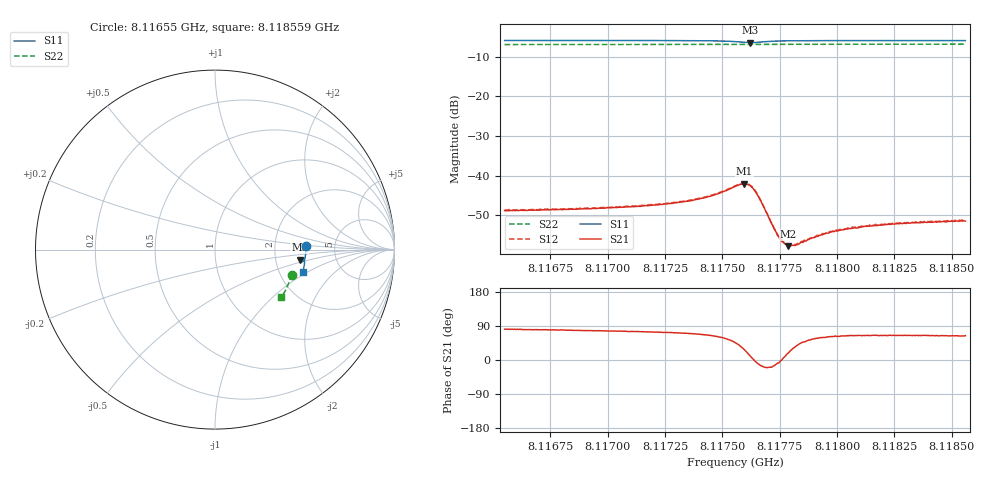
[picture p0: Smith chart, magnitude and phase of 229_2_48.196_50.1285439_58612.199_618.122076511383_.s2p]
#  HZ  S  RI  R  50.00
! Rohde & Schwarz Vector Network Analyzer
! Rohde-Schwarz,ZNB20-2Port,1311601062101988,3.16
! Created: UTC 3/20/2024, 11:46:16 AM
! freq[Hz]  re:S11  im:S11  re:S21  im:S21  re:S12  im:S12  re:S22  im:S22
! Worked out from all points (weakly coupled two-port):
!   401 points, 8.11655 GHz to 8.118559 GHz, reference 50 ohm
!   highest |S21| = -42.02 dB at 8.117595 GHz (marker M1); lowest = -57.8 dB at 8.117786 GHz (marker M2)
!   lowest |S11| = -6.5 dB at 8.11762 GHz (marker M3), VSWR 2.81, Z = 137 - j20.2 ohm
!   |S11| at or under -10 dB: nowhere
!   |S22| runs from -6.9 to -6.8 dB; largest |S21 - S12| = 0.00021
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8.1165505e9  0.5065 0.0174  0.000549 0.00359  0.000628 0.00364  0.4277 -0.1392
8.1168869e9  0.5062 -0.00861  0.000792 0.00372  0.000846 0.00382  0.4208 -0.1616
8.1172233e9  0.5039 -0.0356  0.00122 0.00412  0.00131 0.00421  0.4126 -0.1836
8.1173589e9  0.5017 -0.0477  0.00168 0.00452  0.00176 0.00458  0.409 -0.1926
8.1174242e9  0.4995 -0.0543  0.00212 0.00483  0.0022 0.00495  0.4071 -0.1967
8.1174844e9  0.4959 -0.061  0.00292 0.0052  0.00298 0.00533  0.4051 -0.2006
8.1175547e9  0.4855 -0.0679  0.00505 0.00526  0.00524 0.00528  0.4028 -0.2051
8.1175949e9  0.4752 -0.0648  0.00703 0.00367  0.00717 0.00361  0.4011 -0.2071
8.11762e9  0.472 -0.0569  0.00735 0.00144  0.00747 0.00141  0.4005 -0.2082
8.1176401e9  0.4745 -0.05  0.00652 -0.000224  0.00665 -0.000291  0.4002 -0.2092
8.1176602e9  0.4801 -0.0466  0.00513 -0.00108  0.0052 -0.00116  0.3999 -0.2103
8.1177205e9  0.4934 -0.0509  0.0022 -0.000645  0.00225 -0.000667  0.3987 -0.2144
8.1177456e9  0.4958 -0.0545  0.00169 -0.000235  0.0017 -0.000195  0.3979 -0.2159
8.1177656e9  0.4969 -0.0572  0.00145 0.000141  0.00147 8.63e-05  0.3974 -0.2174
8.1177857e9  0.4977 -0.0599  0.00123 0.000394  0.00129 0.000378  0.3967 -0.2187
8.1178008e9  0.4982 -0.0618  0.00119 0.000592  0.0012 0.000548  0.3964 -0.2196
8.1178259e9  0.4987 -0.0646  0.00105 0.000843  0.0011 0.000852  0.3956 -0.2212
8.1178912e9  0.4988 -0.0718  0.000939 0.00135  0.00101 0.00134  0.3935 -0.2254
8.1179816e9  0.4983 -0.08  0.000929 0.00175  0.000938 0.00177  0.3905 -0.2311
8.1180569e9  0.4974 -0.0864  0.000898 0.00195  0.000963 0.00199  0.3881 -0.2357
8.1182276e9  0.495 -0.1002  0.00101 0.00221  0.0011 0.00223  0.382 -0.2461
8.118559e9  0.4891 -0.1252  0.00117 0.0024  0.00123 0.00245  0.3697 -0.2659
